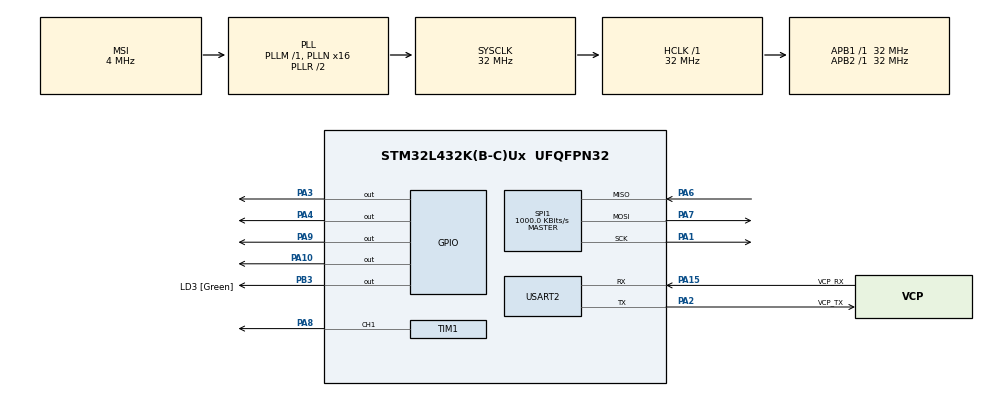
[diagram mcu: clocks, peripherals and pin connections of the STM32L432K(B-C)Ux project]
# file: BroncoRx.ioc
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Mcu.Family=STM32L4
Mcu.Name=STM32L432K(B-C)Ux
Mcu.Package=UFQFPN32
NVIC.PriorityGroup=NVIC_PRIORITYGROUP_4
PA0.GPIO_Label=MCO [High speed clock in]
PA0.Mode=HSE-External-Clock-Source-for-LittleOrca
PA0.Signal=RCC_CK_IN
PA1.Mode=Full_Duplex_Master
PA1.Signal=SPI1_SCK
PA10.Signal=GPIO_Output
PA13\ (JTMS-SWDIO).GPIO_Label=SWDIO
PA13\ (JTMS-SWDIO).Mode=Serial_Wire
PA13\ (JTMS-SWDIO).Signal=SYS_JTMS-SWDIO
PA14\ (JTCK-SWCLK).GPIO_Label=SWCLK
PA14\ (JTCK-SWCLK).Mode=Serial_Wire
PA14\ (JTCK-SWCLK).Signal=SYS_JTCK-SWCLK
PA15\ (JTDI).GPIO_Label=VCP_RX
PA15\ (JTDI).Mode=Asynchronous
PA15\ (JTDI).Signal=USART2_RX
PA2.GPIO_Label=VCP_TX
PA2.Mode=Asynchronous
PA2.Signal=USART2_TX
PA3.Signal=GPIO_Output
PA4.PinState=GPIO_PIN_SET
PA4.Signal=GPIO_Output
PA6.Mode=Full_Duplex_Master
PA6.Signal=SPI1_MISO
PA7.Mode=Full_Duplex_Master
PA7.Signal=SPI1_MOSI
PA8.Signal=S_TIM1_CH1
PA9.Signal=GPIO_Output
PB3\ (JTDO-TRACESWO).GPIO_Label=LD3 [Green]
PB3\ (JTDO-TRACESWO).Signal=GPIO_Output
PC14-OSC32_IN\ (PC14).Mode=LSE-External-Oscillator
PC14-OSC32_IN\ (PC14).Signal=RCC_OSC32_IN
PC15-OSC32_OUT\ (PC15).Mode=LSE-External-Oscillator
PC15-OSC32_OUT\ (PC15).Signal=RCC_OSC32_OUT
ProjectManager.HeapSize=0x200
ProjectManager.StackSize=0x400
ProjectManager.TargetToolchain=CMake
RCC.AHBFreq_Value=32000000
RCC.APB1Freq_Value=32000000
RCC.APB1TimFreq_Value=32000000
RCC.APB2Freq_Value=32000000
RCC.APB2TimFreq_Value=32000000
RCC.CortexFreq_Value=32000000
RCC.HCLKFreq_Value=32000000
RCC.HSE_VALUE=8000000
RCC.HSI16_VALUE=16000000
RCC.HSI48_VALUE=48000000
RCC.HSI_VALUE=16000000
RCC.MSI_VALUE=4000000
RCC.PLLMUL=RCC_PLLMUL_4
RCC.PLLN=16
RCC.SYSCLKFreq_VALUE=32000000
RCC.SYSCLKSource=RCC_SYSCLKSOURCE_PLLCLK
RCC.VCOOutputFreq_Value=64000000
SH.S_TIM1_CH1.0=TIM1_CH1,PWM Generation1 CH1
SPI1.BaudRatePrescaler=SPI_BAUDRATEPRESCALER_32
SPI1.CalculateBaudRate=1000.0 KBits/s
SPI1.DataSize=SPI_DATASIZE_8BIT
SPI1.Direction=SPI_DIRECTION_2LINES
SPI1.Mode=SPI_MODE_MASTER
SPI1.NSSPMode=SPI_NSS_PULSE_DISABLE
SPI1.VirtualType=VM_MASTER
TIM1.AutoReloadPreload=TIM_AUTORELOAD_PRELOAD_ENABLE
TIM1.Channel-PWM\ Generation1\ CH1=TIM_CHANNEL_1
TIM1.Period=255
TIM1.Prescaler=79
TIM1.Pulse-PWM\ Generation1\ CH1=75
USART2.VirtualMode-Asynchronous=VM_ASYNC
board=NUCLEO-L432KC

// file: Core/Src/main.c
/* USER CODE BEGIN Header */
/**
  ******************************************************************************
  * @file           : main.c
  * @brief          : Main program body
  ******************************************************************************
  * @attention
  *
  * Copyright (c) 2026 STMicroelectronics.
  * All rights reserved.
  *
  * This software is licensed under terms that can be found in the LICENSE file
  * in the root directory of this software component.
  * If no LICENSE file comes with this software, it is provided AS-IS.
  *
  ******************************************************************************
  */
/* USER CODE END Header */
#include "main.h"
#include "stm32l432xx.h"
#include "stm32l4xx_hal.h"
#include "stm32l4xx_hal_gpio.h"
#include "stm32l4xx_hal_tim.h"

/* USER CODE BEGIN Includes */
#include <stdio.h>

/* USER CODE END Includes */

/* USER CODE BEGIN PTD */

#pragma pack(push, 1)
typedef struct {
    uint16_t x;
    uint16_t y;
} joystick_payload_t;
#pragma pack(pop)

/* USER CODE END PTD */

/* USER CODE BEGIN PM */

#define CE_Port GPIOA
#define CE_Pin GPIO_PIN_3

#define CSN_Port GPIOA
#define CSN_Pin GPIO_PIN_4

#define NRF24_CMD_R_REGISTER  0x00
#define NRF24_REG_CONFIG      0x00

#define NRF24_CMD_W_REGISTER    0x20
#define NRF24_CMD_W_TX_PAYLOAD  0xA0
#define NRF24_CMD_FLUSH_TX      0xE1

#define NRF24_REG_EN_AA         0x01
#define NRF24_REG_RF_CH         0x05
#define NRF24_REG_STATUS        0x07
#define NRF24_REG_RX_ADDR_P0    0x0A
#define NRF24_REG_TX_ADDR       0x10

// Rx
#define NRF24_CMD_R_RX_PAYLOAD  0x61
#define NRF24_CMD_FLUSH_RX      0xE2

#define NRF24_REG_RX_PW_P0       0x11

#define NRF24_REG_FIFO_STATUS 0x17

/* USER CODE END PM */

SPI_HandleTypeDef hspi1;

TIM_HandleTypeDef htim1;

UART_HandleTypeDef huart2;

void SystemClock_Config(void);
static void MX_GPIO_Init(void);
static void MX_SPI1_Init(void);
static void MX_USART2_UART_Init(void);
static void MX_TIM1_Init(void);
/* USER CODE BEGIN PFP */

uint8_t nrf24_read_reg(uint8_t reg)
{
    uint8_t tx[2] = { NRF24_CMD_R_REGISTER | reg, 0xFF };
    uint8_t rx[2] = { 0 };

    HAL_GPIO_WritePin(CSN_Port, CSN_Pin, GPIO_PIN_RESET);
    HAL_SPI_TransmitReceive(&hspi1, tx, rx, 2, HAL_MAX_DELAY);
    HAL_GPIO_WritePin(CSN_Port, CSN_Pin, GPIO_PIN_SET);

    return rx[1];
}

void nrf24_write_reg(uint8_t reg, uint8_t value)
{
    uint8_t tx[2] = { NRF24_CMD_W_REGISTER | reg, value };
    uint8_t rx[2];

    HAL_GPIO_WritePin(CSN_Port, CSN_Pin, GPIO_PIN_RESET);
    HAL_SPI_TransmitReceive(&hspi1, tx, rx, 2, HAL_MAX_DELAY);
    HAL_GPIO_WritePin(CSN_Port, CSN_Pin, GPIO_PIN_SET);
}

void nrf24_write_addr_reg(uint8_t reg, const uint8_t *addr, uint8_t len)
{
    uint8_t cmd = NRF24_CMD_W_REGISTER | reg;

    HAL_GPIO_WritePin(CSN_Port, CSN_Pin, GPIO_PIN_RESET);
    HAL_SPI_Transmit(&hspi1, &cmd, 1, HAL_MAX_DELAY);
    HAL_SPI_Transmit(&hspi1, (uint8_t *)addr, len, HAL_MAX_DELAY);
    HAL_GPIO_WritePin(CSN_Port, CSN_Pin, GPIO_PIN_SET);
}

void nrf24_write_payload(const uint8_t *data, uint8_t len)
{
    uint8_t cmd = NRF24_CMD_W_TX_PAYLOAD;

    HAL_GPIO_WritePin(CSN_Port, CSN_Pin, GPIO_PIN_RESET);
    HAL_SPI_Transmit(&hspi1, &cmd, 1, HAL_MAX_DELAY);
    HAL_SPI_Transmit(&hspi1, (uint8_t *)data, len, HAL_MAX_DELAY);
    HAL_GPIO_WritePin(CSN_Port, CSN_Pin, GPIO_PIN_SET);
}

void nrf24_pulse_ce(void)
{
    HAL_GPIO_WritePin(CE_Port, CE_Pin, GPIO_PIN_SET);
    HAL_Delay(1);   // comfortably clears the 10µs minimum (Thce)
    HAL_GPIO_WritePin(CE_Port, CE_Pin, GPIO_PIN_RESET);
}

// Rx
void nrf24_read_payload(uint8_t *data, uint8_t len)
{
    uint8_t cmd = NRF24_CMD_R_RX_PAYLOAD;
    uint8_t dummy[32] = {0};   // scratch buffer, only need `len` bytes back

    HAL_GPIO_WritePin(CSN_Port, CSN_Pin, GPIO_PIN_RESET);
    HAL_SPI_Transmit(&hspi1, &cmd, 1, HAL_MAX_DELAY);
    HAL_SPI_TransmitReceive(&hspi1, dummy, data, len, HAL_MAX_DELAY);
    HAL_GPIO_WritePin(CSN_Port, CSN_Pin, GPIO_PIN_SET);
}

void nrf24_flush_rx(void)
{
    uint8_t cmd = NRF24_CMD_FLUSH_RX;

    HAL_GPIO_WritePin(CSN_Port, CSN_Pin, GPIO_PIN_RESET);
    HAL_SPI_Transmit(&hspi1, &cmd, 1, HAL_MAX_DELAY);
    HAL_GPIO_WritePin(CSN_Port, CSN_Pin, GPIO_PIN_SET);
}

/* USER CODE END PFP */

/* USER CODE BEGIN 0 */

int __io_putchar(int ch) {
  HAL_UART_Transmit(&huart2, (uint8_t *)&ch, 1, HAL_MAX_DELAY);
  return ch;
}

/* USER CODE END 0 */

int main(void)
{

  /* MCU Configuration--------------------------------------------------------*/

  /* Reset of all peripherals, Initializes the Flash interface and the Systick. */
  HAL_Init();

  /* Configure the system clock */
  SystemClock_Config();

  /* Initialize all configured peripherals */
  MX_GPIO_Init();
  MX_SPI1_Init();
  MX_USART2_UART_Init();
  MX_TIM1_Init();
  /* USER CODE BEGIN 2 */
  printf("User code begin 2\r\n");
  printf("Build check: 15/15 test version\r\n");

      // set PWR_UP = 1
  // set PRIM_RX = 0
  // wait for the startup time, and configure any other radio registers you nee

  // Begin config for receive
HAL_Delay(100);
uint8_t cfg = nrf24_read_reg(NRF24_REG_CONFIG);
printf("CONFIG initial = 0x%02X\r\n", cfg);

// Probe: write something CONFIG is definitely not already at
nrf24_write_reg(NRF24_REG_CONFIG, 0x00);
uint8_t probe = nrf24_read_reg(NRF24_REG_CONFIG);
printf("CONFIG after 0x00 probe = 0x%02X\r\n", probe);

// Now the real config sequence
uint8_t addr[5] = {0xE7, 0xE7, 0xE7, 0xE7, 0xE7};
nrf24_write_addr_reg(NRF24_REG_RX_ADDR_P0, addr, 5);
nrf24_write_reg(NRF24_REG_RX_PW_P0, 4);
nrf24_write_reg(NRF24_REG_RF_CH, 76);
nrf24_write_reg(NRF24_REG_CONFIG, 0x0B);

// Read everything back to confirm each write actually landed
uint8_t rx_pw = nrf24_read_reg(NRF24_REG_RX_PW_P0);
uint8_t rf_ch = nrf24_read_reg(NRF24_REG_RF_CH);
uint8_t cfg_final = nrf24_read_reg(NRF24_REG_CONFIG);
printf("RX_PW_P0 = 0x%02X, RF_CH = 0x%02X, CONFIG = 0x%02X\r\n", rx_pw, rf_ch, cfg_final);

HAL_Delay(5);
nrf24_flush_rx();
HAL_GPIO_WritePin(CE_Port, CE_Pin, GPIO_PIN_SET);
  // End config for receive

  // One-time verification: confirm RX_ADDR_P0 actually landed
  uint8_t addr_check[5] = {0};
  uint8_t cmd = NRF24_CMD_R_REGISTER | NRF24_REG_RX_ADDR_P0;
  uint8_t dummy[5] = {0xFF, 0xFF, 0xFF, 0xFF, 0xFF};

  HAL_GPIO_WritePin(CSN_Port, CSN_Pin, GPIO_PIN_RESET);
  HAL_SPI_Transmit(&hspi1, &cmd, 1, HAL_MAX_DELAY);
  HAL_SPI_TransmitReceive(&hspi1, dummy, addr_check, 5, HAL_MAX_DELAY);
  HAL_GPIO_WritePin(CSN_Port, CSN_Pin, GPIO_PIN_SET);

  printf("RX_ADDR_P0 = %02X %02X %02X %02X %02X\r\n",
         addr_check[0], addr_check[1], addr_check[2], addr_check[3], addr_check[4]);

  // Motor config start
    HAL_GPIO_WritePin(GPIOA, GPIO_PIN_9, GPIO_PIN_SET);

    HAL_TIM_PWM_Start(&htim1, TIM_CHANNEL_1);

  // Motor config end

  /* USER CODE END 2 */

  /* Infinite loop */
  while (1)
  {

    /* USER CODE BEGIN 3 */

    uint8_t status = nrf24_read_reg(NRF24_REG_STATUS);
    uint8_t cfg_check = nrf24_read_reg(NRF24_REG_CONFIG);
    uint8_t fifo_status = nrf24_read_reg(NRF24_REG_FIFO_STATUS);
    // printf("STATUS = 0x%02X, CONFIG = 0x%02X, FIFO_STATUS = 0x%02X\r\n", status, cfg_check, fifo_status);

    if (status & 0x40) {   // RX_DR bit
        // uint8_t payload[1]; // commented out when adding joystick data
        // nrf24_read_payload(payload, 1); // commented out when adding joystick data
        // printf("Received: 0x%02X\r\n", payload[0]);  // commented out when adding joystick data

        joystick_payload_t received;
        nrf24_read_payload((uint8_t *)&received, sizeof(received));
        printf("X: %u  Y: %u\r\n", received.x, received.y);

        nrf24_write_reg(NRF24_REG_STATUS, 0x40);  // clear RX_DR
    }

    HAL_Delay(200);

  }
  /* USER CODE END 3 */
}

void SystemClock_Config(void)
{
  RCC_OscInitTypeDef RCC_OscInitStruct = {0};
  RCC_ClkInitTypeDef RCC_ClkInitStruct = {0};

  /** Configure the main internal regulator output voltage
  */
  if (HAL_PWREx_ControlVoltageScaling(PWR_REGULATOR_VOLTAGE_SCALE1) != HAL_OK)
  {
    Error_Handler();
  }

  /** Configure LSE Drive Capability
  */
  HAL_PWR_EnableBkUpAccess();
  __HAL_RCC_LSEDRIVE_CONFIG(RCC_LSEDRIVE_LOW);

  /** Initializes the RCC Oscillators according to the specified parameters
  * in the RCC_OscInitTypeDef structure.
  */
  RCC_OscInitStruct.OscillatorType = RCC_OSCILLATORTYPE_LSE|RCC_OSCILLATORTYPE_MSI;
  RCC_OscInitStruct.LSEState = RCC_LSE_ON;
  RCC_OscInitStruct.MSIState = RCC_MSI_ON;
  RCC_OscInitStruct.MSICalibrationValue = 0;
  RCC_OscInitStruct.MSIClockRange = RCC_MSIRANGE_6;
  RCC_OscInitStruct.PLL.PLLState = RCC_PLL_ON;
  RCC_OscInitStruct.PLL.PLLSource = RCC_PLLSOURCE_MSI;
  RCC_OscInitStruct.PLL.PLLM = 1;
  RCC_OscInitStruct.PLL.PLLN = 16;
  RCC_OscInitStruct.PLL.PLLP = RCC_PLLP_DIV7;
  RCC_OscInitStruct.PLL.PLLQ = RCC_PLLQ_DIV2;
  RCC_OscInitStruct.PLL.PLLR = RCC_PLLR_DIV2;
  if (HAL_RCC_OscConfig(&RCC_OscInitStruct) != HAL_OK)
  {
    Error_Handler();
  }

  /** Initializes the CPU, AHB and APB buses clocks
  */
  RCC_ClkInitStruct.ClockType = RCC_CLOCKTYPE_HCLK|RCC_CLOCKTYPE_SYSCLK
                              |RCC_CLOCKTYPE_PCLK1|RCC_CLOCKTYPE_PCLK2;
  RCC_ClkInitStruct.SYSCLKSource = RCC_SYSCLKSOURCE_PLLCLK;
  RCC_ClkInitStruct.AHBCLKDivider = RCC_SYSCLK_DIV1;
  RCC_ClkInitStruct.APB1CLKDivider = RCC_HCLK_DIV1;
  RCC_ClkInitStruct.APB2CLKDivider = RCC_HCLK_DIV1;

  if (HAL_RCC_ClockConfig(&RCC_ClkInitStruct, FLASH_LATENCY_1) != HAL_OK)
  {
    Error_Handler();
  }

  /** Enable MSI Auto calibration
  */
  HAL_RCCEx_EnableMSIPLLMode();
}

static void MX_SPI1_Init(void)
{

  /* SPI1 parameter configuration*/
  hspi1.Instance = SPI1;
  hspi1.Init.Mode = SPI_MODE_MASTER;
  hspi1.Init.Direction = SPI_DIRECTION_2LINES;
  hspi1.Init.DataSize = SPI_DATASIZE_8BIT;
  hspi1.Init.CLKPolarity = SPI_POLARITY_LOW;
  hspi1.Init.CLKPhase = SPI_PHASE_1EDGE;
  hspi1.Init.NSS = SPI_NSS_SOFT;
  hspi1.Init.BaudRatePrescaler = SPI_BAUDRATEPRESCALER_32;
  hspi1.Init.FirstBit = SPI_FIRSTBIT_MSB;
  hspi1.Init.TIMode = SPI_TIMODE_DISABLE;
  hspi1.Init.CRCCalculation = SPI_CRCCALCULATION_DISABLE;
  hspi1.Init.CRCPolynomial = 7;
  hspi1.Init.CRCLength = SPI_CRC_LENGTH_DATASIZE;
  hspi1.Init.NSSPMode = SPI_NSS_PULSE_DISABLE;
  if (HAL_SPI_Init(&hspi1) != HAL_OK)
  {
    Error_Handler();
  }

}

static void MX_TIM1_Init(void)
{

  TIM_MasterConfigTypeDef sMasterConfig = {0};
  TIM_OC_InitTypeDef sConfigOC = {0};
  TIM_BreakDeadTimeConfigTypeDef sBreakDeadTimeConfig = {0};

  htim1.Instance = TIM1;
  htim1.Init.Prescaler = 79;
  htim1.Init.CounterMode = TIM_COUNTERMODE_UP;
  htim1.Init.Period = 255;
  htim1.Init.ClockDivision = TIM_CLOCKDIVISION_DIV1;
  htim1.Init.RepetitionCounter = 0;
  htim1.Init.AutoReloadPreload = TIM_AUTORELOAD_PRELOAD_ENABLE;
  if (HAL_TIM_PWM_Init(&htim1) != HAL_OK)
  {
    Error_Handler();
  }
  sMasterConfig.MasterOutputTrigger = TIM_TRGO_RESET;
  sMasterConfig.MasterOutputTrigger2 = TIM_TRGO2_RESET;
  sMasterConfig.MasterSlaveMode = TIM_MASTERSLAVEMODE_DISABLE;
  if (HAL_TIMEx_MasterConfigSynchronization(&htim1, &sMasterConfig) != HAL_OK)
  {
    Error_Handler();
  }
  sConfigOC.OCMode = TIM_OCMODE_PWM1;
  sConfigOC.Pulse = 75;
  sConfigOC.OCPolarity = TIM_OCPOLARITY_HIGH;
  sConfigOC.OCNPolarity = TIM_OCNPOLARITY_HIGH;
  sConfigOC.OCFastMode = TIM_OCFAST_DISABLE;
  sConfigOC.OCIdleState = TIM_OCIDLESTATE_RESET;
  sConfigOC.OCNIdleState = TIM_OCNIDLESTATE_RESET;
  if (HAL_TIM_PWM_ConfigChannel(&htim1, &sConfigOC, TIM_CHANNEL_1) != HAL_OK)
  {
    Error_Handler();
  }
  sBreakDeadTimeConfig.OffStateRunMode = TIM_OSSR_DISABLE;
  sBreakDeadTimeConfig.OffStateIDLEMode = TIM_OSSI_DISABLE;
  sBreakDeadTimeConfig.LockLevel = TIM_LOCKLEVEL_OFF;
  sBreakDeadTimeConfig.DeadTime = 0;
  sBreakDeadTimeConfig.BreakState = TIM_BREAK_DISABLE;
  sBreakDeadTimeConfig.BreakPolarity = TIM_BREAKPOLARITY_HIGH;
  sBreakDeadTimeConfig.BreakFilter = 0;
  sBreakDeadTimeConfig.Break2State = TIM_BREAK2_DISABLE;
  sBreakDeadTimeConfig.Break2Polarity = TIM_BREAK2POLARITY_HIGH;
  sBreakDeadTimeConfig.Break2Filter = 0;
  sBreakDeadTimeConfig.AutomaticOutput = TIM_AUTOMATICOUTPUT_DISABLE;
  if (HAL_TIMEx_ConfigBreakDeadTime(&htim1, &sBreakDeadTimeConfig) != HAL_OK)
  {
    Error_Handler();
  }
  HAL_TIM_MspPostInit(&htim1);

}

static void MX_USART2_UART_Init(void)
{

  huart2.Instance = USART2;
  huart2.Init.BaudRate = 115200;
  huart2.Init.WordLength = UART_WORDLENGTH_8B;
  huart2.Init.StopBits = UART_STOPBITS_1;
  huart2.Init.Parity = UART_PARITY_NONE;
  huart2.Init.Mode = UART_MODE_TX_RX;
  huart2.Init.HwFlowCtl = UART_HWCONTROL_NONE;
  huart2.Init.OverSampling = UART_OVERSAMPLING_16;
  huart2.Init.OneBitSampling = UART_ONE_BIT_SAMPLE_DISABLE;
  huart2.AdvancedInit.AdvFeatureInit = UART_ADVFEATURE_NO_INIT;
  if (HAL_UART_Init(&huart2) != HAL_OK)
  {
    Error_Handler();
  }

}

static void MX_GPIO_Init(void)
{
  GPIO_InitTypeDef GPIO_InitStruct = {0};

  /* GPIO Ports Clock Enable */
  __HAL_RCC_GPIOC_CLK_ENABLE();
  __HAL_RCC_GPIOA_CLK_ENABLE();
  __HAL_RCC_GPIOB_CLK_ENABLE();

  /*Configure GPIO pin Output Level */
  HAL_GPIO_WritePin(GPIOA, GPIO_PIN_3|GPIO_PIN_9|GPIO_PIN_10, GPIO_PIN_RESET);

  /*Configure GPIO pin Output Level */
  HAL_GPIO_WritePin(GPIOA, GPIO_PIN_4, GPIO_PIN_SET);

  /*Configure GPIO pin Output Level */
  HAL_GPIO_WritePin(LD3_GPIO_Port, LD3_Pin, GPIO_PIN_RESET);

  /*Configure GPIO pins : PA3 PA4 PA9 PA10 */
  GPIO_InitStruct.Pin = GPIO_PIN_3|GPIO_PIN_4|GPIO_PIN_9|GPIO_PIN_10;
  GPIO_InitStruct.Mode = GPIO_MODE_OUTPUT_PP;
  GPIO_InitStruct.Pull = GPIO_NOPULL;
  GPIO_InitStruct.Speed = GPIO_SPEED_FREQ_LOW;
  HAL_GPIO_Init(GPIOA, &GPIO_InitStruct);

  /*Configure GPIO pin : LD3_Pin */
  GPIO_InitStruct.Pin = LD3_Pin;
  GPIO_InitStruct.Mode = GPIO_MODE_OUTPUT_PP;
  GPIO_InitStruct.Pull = GPIO_NOPULL;
  GPIO_InitStruct.Speed = GPIO_SPEED_FREQ_LOW;
  HAL_GPIO_Init(LD3_GPIO_Port, &GPIO_InitStruct);

}

void Error_Handler(void)
{
  __disable_irq();
  while (1)
  {
  }
}
